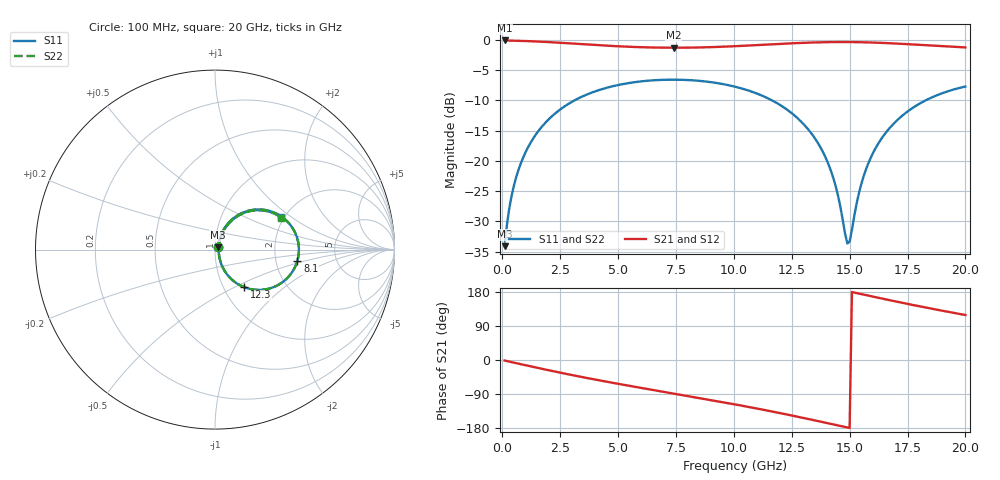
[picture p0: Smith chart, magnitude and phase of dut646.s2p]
! Touchstone file exported from HFSS 2026.1.0
!  File:  C:/ffzhzh/LocalFiles/Ansys_Project_Files/temp_train_TSV_RDL_646_1783128727_53076.aedt
!  Generated:  09:42:17 AM Jul  4, 2026
!  Design:  TSV_RDL
!  Project:  temp_train_TSV_RDL_646_1783128727_53076
! Variables:
!  h_bsmrdl = 4.56um
!  h_ox = 20um
!  h_rdl = 5um
!  h_sub = 70.79um
!  h_tmrdl = 4.04um
!  h_tsv = 70.79um
!  h_via = 3um
!  l_bsmrdl = 482.54um
!  l_sub = 4071.7um
!  l_tmrdl = 524.16um
!  m_sub = 200um
!  pitch = 45.79um
!  r_tsv = 11.01um
!  s_tmrdl = 10um
!  w_bsmrdl = 17.82um
!  w_sub = 500um
!  w_tmrdl = 24.66um
!  x_tsv_center1 = 536.49um
!  x_tsv_center2 = 1036.85um
!  x_tsv_center3 = 1585.67um
!  x_tsv_center4 = 2086.03um
!  x_tsv_center5 = 2634.85um
!  x_tsv_center6 = 3135.21um
# GHz S MA R 50.000000
! Terminal data exported
! Port[1] = TM_RDL1_1_T1
! Port[2] = TM_RDL5_1_T1
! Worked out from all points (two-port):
!   200 points, 100 MHz to 20 GHz, reference 50 ohm
!   highest |S21| = -0.13 dB at 100 MHz (marker M1); lowest = -1.3 dB at 7.4 GHz (marker M2)
!   |S21| within 3 dB of the highest: start of sweep to end of sweep
!   lowest |S11| = -34.1 dB at 100 MHz (marker M3), VSWR 1.04, Z = 51.5 + j1.29 ohm
!   |S11| at or under -10 dB: start of sweep to 3.131 GHz; 11.64 GHz to 18.29 GHz (6.657 GHz wide, 44.5 % of centre)
!   |S22| runs from -34.1 to -6.6 dB; largest |S21 - S12| = 4.2e-14
!   S11 on the Smith chart (normalised r, x): 100 MHz: 1.03, +0.03; 8.1 GHz: 2.65, -0.42; 12.3 GHz: 1.25, -0.56; 20 GHz: 1.93, +0.83
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0.1  0.01975 39.2  0.9849 -1.4  0.9849 -1.4  0.01975 39.2
! Gamma 0 0 0 0
! Port Impedance 50 0 50 0
0.3  0.04036 61.6  0.9828 -4.2  0.9828 -4.2  0.04036 61.6
0.5  0.06227 66.7  0.9807 -7.0  0.9807 -7.0  0.06227 66.7
1.1  0.128 66.3  0.9728 -15.1  0.9728 -15.1  0.128 66.3
2.1  0.2292 56.5  0.9525 -28.3  0.9525 -28.3  0.2292 56.5
3.5  0.3425 40.6  0.9163 -45.6  0.9163 -45.6  0.3425 40.6
5  0.4222 24.2  0.8817 -62.8  0.8817 -62.8  0.4222 24.2
6.8  0.4651 5.5  0.8595 -82.2  0.8595 -82.2  0.4651 5.5
7.4  0.4676 -0.6  0.8578 -88.5  0.8578 -88.5  0.4676 -0.6
8.1  0.4633 -7.7  0.8595 -95.9  0.8595 -95.9  0.4633 -7.7
10.1  0.4069 -28.4  0.884 -117.7  0.884 -117.7  0.4069 -28.4
12.3  0.2643 -52.3  0.929 -143.9  0.929 -143.9  0.2644 -52.3
13.4  0.1633 -63.3  0.9474 -158.1  0.9474 -158.1  0.1634 -63.2
13.9  0.1128 -66.5  0.9527 -164.7  0.9527 -164.7  0.1129 -66.3
14.3  0.07166 -65.6  0.9552 -170.0  0.9552 -170.0  0.0718 -65.3
14.9  0.02082 -11.1  0.9557 -178.0  0.9557 -178.0  0.0212 -11.0
15  0.02153 17.2  0.9554 -179.4  0.9554 -179.4  0.02188 16.8
15.4  0.05391 61.3  0.9532 175.3  0.9532 175.3  0.05403 60.9
15.7  0.08429 65.6  0.9503 171.3  0.9503 171.3  0.08435 65.4
16.7  0.1838 60.5  0.9351 158.2  0.9351 158.2  0.1838 60.4
18.1  0.3023 46.0  0.9042 140.7  0.9042 140.7  0.3023 46.0
20  0.4105 25.9  0.8629 118.7  0.8629 118.7  0.4104 25.8
